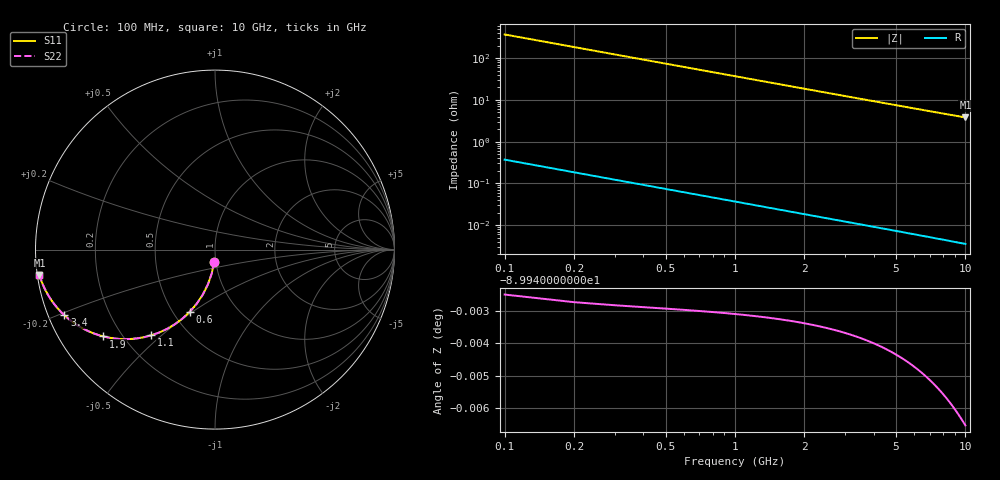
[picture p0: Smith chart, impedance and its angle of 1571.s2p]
# Hz S RI R 50.00
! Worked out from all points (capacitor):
!   100 points, 100 MHz to 10 GHz, reference 50 ohm
!   read as one part in shunt: C = 4.3 pF near 100 MHz
!   lowest |Z| = 3.8 ohm at 10 GHz (marker M1)
!   S11 on the Smith chart (normalised r, x): 100 MHz: 0.98, -0.13; 600 MHz: 0.60, -0.49; 1.1 GHz: 0.31, -0.46; 1.9 GHz: 0.13, -0.34; 3.4 GHz: 0.05, -0.21; 10 GHz: 0.01, -0.07
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1e8  -0.0046 -0.0672  0.9954 -0.0673  0.9954 -0.0673  -0.0046 -0.0672
2e8  -0.0181 -0.1326  0.9819 -0.1328  0.9819 -0.1328  -0.0181 -0.1326
3e8  -0.0396 -0.1945  0.9603 -0.1947  0.9603 -0.1947  -0.0396 -0.1945
4e8  -0.0683 -0.2516  0.9317 -0.2519  0.9317 -0.2519  -0.0683 -0.2516
5e8  -0.1026 -0.3028  0.8973 -0.3032  0.8973 -0.3032  -0.1026 -0.3028
6e8  -0.1413 -0.3477  0.8587 -0.3481  0.8587 -0.3481  -0.1413 -0.3477
7e8  -0.1829 -0.3859  0.8171 -0.3864  0.8171 -0.3864  -0.1829 -0.3859
8e8  -0.2262 -0.4176  0.7738 -0.4181  0.7738 -0.4181  -0.2262 -0.4176
9e8  -0.2699 -0.4431  0.7301 -0.4437  0.7301 -0.4437  -0.2699 -0.4431
1.1e9  -0.3556 -0.4778  0.6444 -0.4786  0.6444 -0.4786  -0.3556 -0.4778
1.4e9  -0.4716 -0.4982  0.5284 -0.4992  0.5284 -0.4992  -0.4716 -0.4982
1.8e9  -0.5957 -0.4896  0.4043 -0.4909  0.4043 -0.4909  -0.5957 -0.4896
1.9e9  -0.6213 -0.4839  0.3787 -0.4852  0.3787 -0.4852  -0.6213 -0.4839
2.2e9  -0.6872 -0.4623  0.3127 -0.4639  0.3127 -0.4639  -0.6872 -0.4623
2.6e9  -0.754 -0.4293  0.246 -0.4311  0.246 -0.4311  -0.754 -0.4293
3e9  -0.8029 -0.3962  0.197 -0.3983  0.197 -0.3983  -0.8029 -0.3962
3.4e9  -0.8394 -0.3655  0.1606 -0.3678  0.1606 -0.3678  -0.8394 -0.3655
4.2e9  -0.8884 -0.3129  0.1116 -0.3159  0.1116 -0.3159  -0.8884 -0.3129
5.1e9  -0.9213 -0.2669  0.0786 -0.2705  0.0786 -0.2705  -0.9213 -0.2669
6.7e9  -0.9528 -0.2092  0.0472 -0.214  0.0472 -0.214  -0.9528 -0.2092
8.4e9  -0.9694 -0.1687  0.0306 -0.1747  0.0306 -0.1747  -0.9694 -0.1687
1e10  -0.9782 -0.1418  0.0217 -0.1489  0.0217 -0.1489  -0.9782 -0.1418
